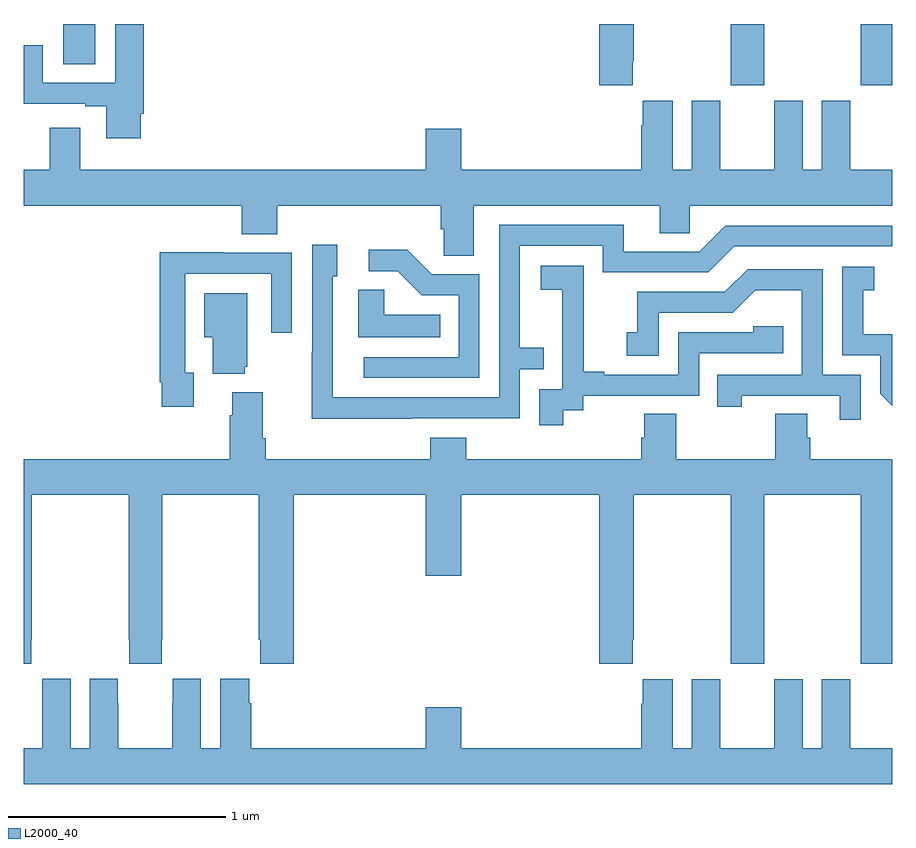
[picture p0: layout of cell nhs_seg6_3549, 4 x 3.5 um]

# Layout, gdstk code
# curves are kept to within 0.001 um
import gdstk
lib = gdstk.Library(unit=1e-6, precision=1e-09)
def R(c, l, rs):  # rectangles x0, y0, x1, y1
    for r in rs: c.add(gdstk.rectangle(r[:2], r[2:], *l))
def P(c, l, *ps):  # polygons
    for p in ps: c.add(gdstk.Polygon(p, *l))
L2000_40 = (2000, 40)

nhs_seg6_3549 = lib.new_cell('nhs_seg6_3549')
R(nhs_seg6_3549, L2000_40, [(322.255,953.217,322.41,953.5), (322.855,953.217,323,953.5), (319.181,953.314,319.33,953.5)])
P(nhs_seg6_3549, L2000_40, [(319.54,953.086),(319.553,953.086),(319.553,953.5),(319.421,953.5),(319.421,953.229),(319.087,953.229),(319.087,953.401),(319,953.401),(319,953.133),(319.283,953.133),(319.283,953.121),(319.379,953.121),(319.379,952.974),(319.54,952.974)],
  [(321.805,953.329),(321.81,953.329),(321.81,953.5),(321.65,953.5),(321.65,953.217),(321.805,953.217)],
  [(321.073,952.664),(321.929,952.664),(321.929,952.537),(322.068,952.537),(322.068,952.664),(323,952.664),(323,952.828),(322.807,952.828),(322.807,953.146),(322.676,953.146),(322.676,952.828),(322.588,952.828),(322.588,953.146),(322.457,953.146),(322.457,952.828),(322.207,952.828),(322.207,953.146),(322.076,953.146),(322.076,952.828),(321.988,952.828),(321.988,953.146),(321.851,953.146),(321.851,953.033),(321.845,953.033),(321.845,952.828),(321.016,952.828),(321.016,953.017),(320.852,953.017),(320.852,952.828),(319.261,952.828),(319.261,953.023),(319.121,953.023),(319.121,952.828),(319,952.828),(319,952.664),(320.003,952.664),(320.003,952.531),(320.168,952.531),(320.168,952.664),(320.921,952.664),(320.921,952.555),(320.934,952.555),(320.934,952.432),(321.073,952.432)],
  [(320.789,951.684),(321.285,951.684),(321.285,951.909),(321.395,951.909),(321.395,952.01),(321.285,952.01),(321.285,952.479),(321.666,952.479),(321.666,952.356),(322.152,952.356),(322.272,952.476),(323,952.476),(323,952.572),(322.23,952.572),(322.11,952.452),(321.763,952.452),(321.763,952.575),(321.189,952.575),(321.189,951.78),(320.424,951.78),(320.424,952.338),(320.443,952.338),(320.443,952.483),(320.328,952.483),(320.328,951.989),(320.326,951.989),(320.326,951.683)],
  [(321.099,952.347),(320.88,952.347),(320.767,952.46),(320.589,952.46),(320.589,952.362),(320.723,952.362),(320.834,952.251),(321.003,952.251),(321.003,951.966),(320.565,951.966),(320.565,951.87),(321.099,951.87)],
  [(319.783,951.894),(319.743,951.894),(319.743,952.35),(320.139,952.35),(320.139,952.077),(320.235,952.077),(320.235,952.446),(319.919,952.446),(319.919,952.448),(319.627,952.448),(319.627,951.85),(319.635,951.85),(319.635,951.738),(319.783,951.738)],
  [(321.484,951.721),(321.576,951.721),(321.576,951.789),(322.11,951.789),(322.11,951.984),(322.499,951.984),(322.499,952.107),(322.359,952.107),(322.359,952.08),(322.014,952.08),(322.014,951.885),(321.673,951.885),(321.673,951.898),(321.578,951.898),(321.578,952.181),(321.579,952.181),(321.579,952.387),(321.381,952.387),(321.381,952.277),(321.479,952.277),(321.479,952.049),(321.48,952.049),(321.48,951.819),(321.375,951.819),(321.375,951.651),(321.484,951.651)],
  [(323,952.071),(322.867,952.071),(322.867,952.275),(322.916,952.275),(322.916,952.381),(322.77,952.381),(322.77,951.975),(322.944,951.975),(322.944,951.798),(323,951.743)],
  [(322.854,951.885),(322.68,951.885),(322.68,952.371),(322.334,952.371),(322.229,952.266),(321.826,952.266),(321.826,952.081),(321.777,952.081),(321.777,951.972),(321.924,951.972),(321.924,952.17),(322.266,952.17),(322.37,952.274),(322.584,952.274),(322.584,951.885),(322.195,951.885),(322.195,951.738),(322.306,951.738),(322.306,951.789),(322.757,951.789),(322.757,951.678),(322.854,951.678)],
  [(320.918,952.162),(320.661,952.162),(320.661,952.277),(320.54,952.277),(320.54,952.058),(320.918,952.058)],
  [(320.018,951.921),(320.029,951.921),(320.029,952.261),(319.832,952.261),(319.832,952.058),(319.871,952.058),(319.871,951.89),(320.018,951.89)],
  [(320.083,950.665),(320.089,950.665),(320.089,950.553),(320.243,950.553),(320.243,951.332),(320.852,951.332),(320.852,950.958),(321.016,950.958),(321.016,951.332),(321.65,951.332),(321.65,950.553),(321.805,950.553),(321.805,950.665),(321.81,950.665),(321.81,951.332),(322.255,951.332),(322.255,950.553),(322.41,950.553),(322.41,951.332),(322.855,951.332),(322.855,950.553),(323,950.553),(323,951.496),(322.622,951.496),(322.622,951.594),(322.609,951.594),(322.609,951.704),(322.462,951.704),(322.462,951.496),(322.005,951.496),(322.005,951.704),(321.857,951.704),(321.857,951.594),(321.845,951.594),(321.845,951.496),(321.038,951.496),(321.038,951.595),(320.873,951.595),(320.873,951.496),(320.114,951.496),(320.114,951.592),(320.101,951.592),(320.101,951.805),(319.961,951.805),(319.961,951.698),(319.949,951.698),(319.949,951.496),(319,951.496),(319,950.553),(319.035,950.553),(319.035,950.665),(319.038,950.665),(319.038,951.332),(319.483,951.332),(319.483,950.665),(319.485,950.665),(319.485,950.553),(319.635,950.553),(319.635,950.665),(319.638,950.665),(319.638,951.332),(320.083,951.332)],
  [(323,950.164),(322.807,950.164),(322.807,950.482),(322.676,950.482),(322.676,950.164),(322.588,950.164),(322.588,950.482),(322.457,950.482),(322.457,950.164),(322.207,950.164),(322.207,950.482),(322.076,950.482),(322.076,950.164),(321.988,950.164),(321.988,950.482),(321.851,950.482),(321.851,950.369),(321.845,950.369),(321.845,950.164),(321.016,950.164),(321.016,950.353),(320.852,950.353),(320.852,950.164),(320.048,950.164),(320.048,950.372),(320.038,950.372),(320.038,950.485),(319.904,950.485),(319.904,950.164),(319.816,950.164),(319.816,950.485),(319.686,950.485),(319.686,950.372),(319.685,950.372),(319.685,950.164),(319.435,950.164),(319.435,950.372),(319.434,950.372),(319.434,950.485),(319.304,950.485),(319.304,950.164),(319.216,950.164),(319.216,950.485),(319.086,950.485),(319.086,950.372),(319.085,950.372),(319.085,950.164),(319,950.164),(319,950),(323,950)])

lib.write_gds('nhs_seg6_3549.gds')
